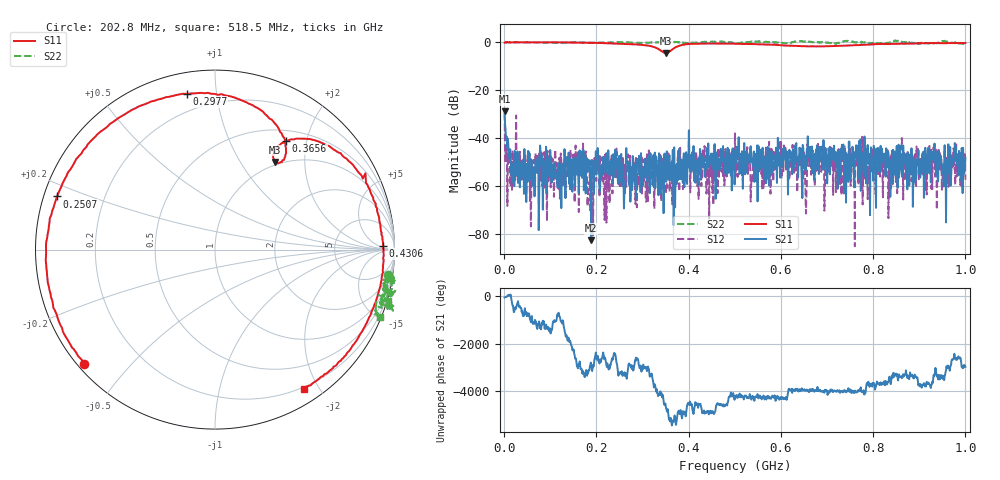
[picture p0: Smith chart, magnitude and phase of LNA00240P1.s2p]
! Created with skrf 1.9.0 (http://scikit-rf.org).
# Hz S RI R 50.0
!freq ReS11 ImS11 ReS21 ImS21 ReS12 ImS12 ReS22 ImS22
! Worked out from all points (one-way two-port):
!   1001 points, 1 MHz to 1 GHz, reference 50 ohm
!   highest |S21| = -28.81 dB at 1 MHz (marker M1); lowest = -82.7 dB at 188.8 MHz (marker M2)
!   lowest |S11| = -4.6 dB at 351.6 MHz (marker M3), VSWR 3.89, Z = 47.5 + j71.4 ohm
!   |S11| at or under -10 dB: nowhere
!   |S22| runs from -0.8 to 0.7 dB; largest |S21 - S12| = 0.06
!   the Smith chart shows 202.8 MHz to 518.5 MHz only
!   S11 on the Smith chart (normalised r, x): 202.8 MHz: 0.02, -0.37; 250.8 MHz: 0.04, +0.16; 297.7 MHz: 0.11, +0.83; 365.6 MHz: 0.66, +1.66; 430.6 MHz: 27, +10; 518.5 MHz: 0.17, -1.80
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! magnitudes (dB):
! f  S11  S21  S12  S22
! 1 MHz  -0.2  -28.8  -29.7  0.0
! 11.99 MHz  -0.1  -49.0  -47.5  -0.1
! 19.98 MHz  -0.1  -52.5  -58.3  0.0
! 129.9 MHz  -0.1  -50.4  -55.5  -0.1
! 167.8 MHz  -0.2  -49.8  -45.9  -0.2
! 188.8 MHz  -0.3  -82.7  -51.0  -0.2
! 202.8 MHz  -0.3  -44.2  -54.1  -0.2
! 220.8 MHz  -0.4  -46.6  -57.5  -0.1
! 250.8 MHz  -0.6  -52.1  -55.4  0.1
! 297.7 MHz  -1.1  -53.3  -48.0  -0.3
! 334.7 MHz  -2.9  -63.9  -55.8  -0.1
! 351.6 MHz  -4.6  -58.2  -59.2  0.1
! 365.6 MHz  -2.8  -45.0  -48.8  0.2
! 430.6 MHz  -0.6  -51.8  -44.4  0.0
! 441.6 MHz  -0.5  -50.4  -55.9  0.3
! 500.5 MHz  -0.6  -52.0  -38.1  -0.4
! 518.5 MHz  -0.7  -48.8  -54.0  0.0
! 595.4 MHz  -1.2  -48.3  -47.5  -0.2
! 651.3 MHz  -1.7  -47.4  -48.0  0.3
! 667.3 MHz  -1.7  -43.6  -47.5  0.0
! 834.2 MHz  -0.7  -49.5  -48.9  -0.3
! 1 GHz  -0.3  -48.2  -57.5  -0.6
